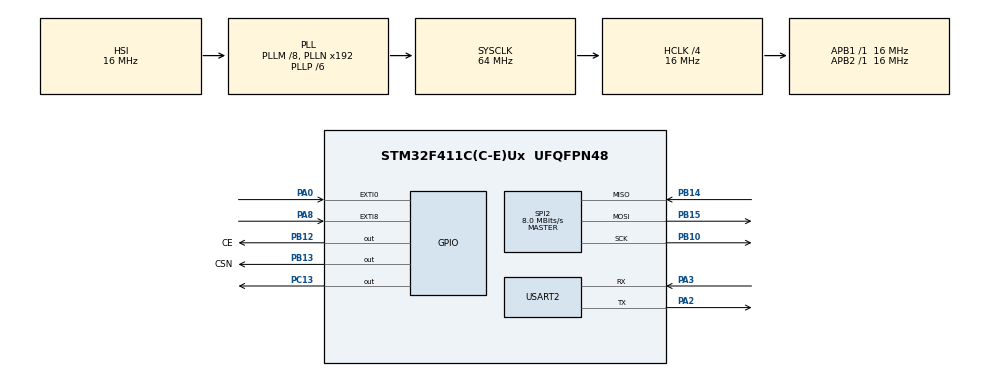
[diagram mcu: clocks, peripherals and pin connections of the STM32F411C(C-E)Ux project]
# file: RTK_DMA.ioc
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Dma.Request0=USART2_TX
Dma.Request1=USART2_RX
Dma.USART2_RX.1.Direction=DMA_PERIPH_TO_MEMORY
Dma.USART2_RX.1.FIFOMode=DMA_FIFOMODE_DISABLE
Dma.USART2_RX.1.Instance=DMA1_Stream5
Dma.USART2_RX.1.MemDataAlignment=DMA_MDATAALIGN_BYTE
Dma.USART2_RX.1.MemInc=DMA_MINC_ENABLE
Dma.USART2_RX.1.Mode=DMA_NORMAL
Dma.USART2_RX.1.PeriphDataAlignment=DMA_PDATAALIGN_BYTE
Dma.USART2_RX.1.PeriphInc=DMA_PINC_DISABLE
Dma.USART2_RX.1.Priority=DMA_PRIORITY_LOW
Dma.USART2_TX.0.Direction=DMA_MEMORY_TO_PERIPH
Dma.USART2_TX.0.FIFOMode=DMA_FIFOMODE_DISABLE
Dma.USART2_TX.0.Instance=DMA1_Stream6
Dma.USART2_TX.0.MemDataAlignment=DMA_MDATAALIGN_BYTE
Dma.USART2_TX.0.MemInc=DMA_MINC_ENABLE
Dma.USART2_TX.0.Mode=DMA_NORMAL
Dma.USART2_TX.0.PeriphDataAlignment=DMA_PDATAALIGN_BYTE
Dma.USART2_TX.0.PeriphInc=DMA_PINC_DISABLE
Dma.USART2_TX.0.Priority=DMA_PRIORITY_LOW
Mcu.Family=STM32F4
Mcu.Name=STM32F411C(C-E)Ux
Mcu.Package=UFQFPN48
NVIC.DMA1_Stream5_IRQn=true\:0\:0\:false\:false\:true\:false\:true\:true
NVIC.DMA1_Stream6_IRQn=true\:0\:0\:false\:false\:true\:false\:true\:true
NVIC.EXTI0_IRQn=true\:0\:0\:false\:false\:true\:true\:true\:true
NVIC.EXTI9_5_IRQn=true\:0\:0\:false\:false\:true\:true\:true\:true
NVIC.PriorityGroup=NVIC_PRIORITYGROUP_4
NVIC.SPI2_IRQn=true\:0\:0\:false\:false\:true\:true\:true\:true
NVIC.TIM3_IRQn=true\:0\:0\:false\:false\:true\:true\:true\:true
NVIC.USART2_IRQn=true\:0\:0\:false\:false\:true\:true\:true\:true
PA0-WKUP.GPIO_ModeDefaultEXTI=GPIO_MODE_IT_FALLING
PA0-WKUP.Signal=GPXTI0
PA2.Mode=Asynchronous
PA2.Signal=USART2_TX
PA3.Mode=Asynchronous
PA3.Signal=USART2_RX
PA8.Signal=GPXTI8
PB10.Mode=Full_Duplex_Master
PB10.Signal=SPI2_SCK
PB12.GPIO_Label=CE
PB12.GPIO_Speed=GPIO_SPEED_FREQ_HIGH
PB12.Signal=GPIO_Output
PB13.GPIO_Label=CSN
PB13.GPIO_Speed=GPIO_SPEED_FREQ_HIGH
PB13.Signal=GPIO_Output
PB14.Mode=Full_Duplex_Master
PB14.Signal=SPI2_MISO
PB15.Mode=Full_Duplex_Master
PB15.Signal=SPI2_MOSI
PC13-ANTI_TAMP.Signal=GPIO_Output
ProjectManager.HeapSize=0x200
ProjectManager.StackSize=0x400
ProjectManager.TargetToolchain=STM32CubeIDE
RCC.48MHZClocksFreq_Value=96000000
RCC.AHBCLKDivider=RCC_SYSCLK_DIV4
RCC.AHBFreq_Value=16000000
RCC.APB1Freq_Value=16000000
RCC.APB1TimFreq_Value=16000000
RCC.APB2Freq_Value=16000000
RCC.APB2TimFreq_Value=16000000
RCC.CortexFreq_Value=16000000
RCC.HCLKFreq_Value=16000000
RCC.HSE_VALUE=25000000
RCC.HSI_VALUE=16000000
RCC.LSE_VALUE=32768
RCC.PLLM=8
RCC.PLLP=RCC_PLLP_DIV6
RCC.SYSCLKFreq_VALUE=64000000
RCC.SYSCLKSource=RCC_SYSCLKSOURCE_PLLCLK
RCC.VCOOutputFreq_Value=384000000
SPI2.BaudRatePrescaler=SPI_BAUDRATEPRESCALER_2
SPI2.CalculateBaudRate=8.0 MBits/s
SPI2.Direction=SPI_DIRECTION_2LINES
SPI2.Mode=SPI_MODE_MASTER
SPI2.VirtualType=VM_MASTER
TIM3.Period=2599
TIM3.Prescaler=1599
USART2.VirtualMode=VM_ASYNC
VP_TIM3_VS_ClockSourceINT.Mode=Internal
board=custom

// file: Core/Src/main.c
/* USER CODE BEGIN Header */
/**
  ******************************************************************************
  * @file           : main.c
  * @brief          : Main program body
  ******************************************************************************
  * @attention
  *
  * Copyright (c) 2024 STMicroelectronics.
  * All rights reserved.
  *
  * This software is licensed under terms that can be found in the LICENSE file
  * in the root directory of this software component.
  * If no LICENSE file comes with this software, it is provided AS-IS.
  *
  ******************************************************************************
  */
/* USER CODE END Header */
#include "main.h"

/* USER CODE BEGIN Includes */
#include <stdio.h>
#include <string.h>
#include "NRF24.h"
#include "NRF24_reg_addresses.h"
/* USER CODE END Includes */

SPI_HandleTypeDef hspi2;

TIM_HandleTypeDef htim3;

UART_HandleTypeDef huart2;
DMA_HandleTypeDef hdma_usart2_tx;
DMA_HandleTypeDef hdma_usart2_rx;

void SystemClock_Config(void);
static void MX_GPIO_Init(void);
static void MX_DMA_Init(void);
static void MX_SPI2_Init(void);
static void MX_USART2_UART_Init(void);
static void MX_TIM3_Init(void);

/* USER CODE BEGIN 0 */

#define INTERVAL_MAX 10
#define MAX_SIZE 1024
#define NRF_SIZE 32
#define GGA_SIZE 100

#define TX

uint8_t countTimeout = 0;
uint8_t rover_mode = 0;
uint8_t nrf_rtcm_data[MAX_SIZE];
uint16_t nrf_packet_id = 0;

// RX
volatile uint16_t size = 0;
volatile uint16_t countCallBack = 0;
uint8_t nrf_rx_packet[NRF_SIZE];
uint8_t nrf_gga_data[GGA_SIZE];

void HAL_UARTEx_RxEventCallback(UART_HandleTypeDef *huart, uint16_t Size)
{
	size = Size;
	countCallBack++;

#ifdef TX
	if (size < MAX_SIZE - 2){
		nrf_rtcm_data[size] = '\r';
		nrf_rtcm_data[size+1] = '\n';
	}
#endif

#ifdef RX
	if (size < GGA_SIZE - 2){
		nrf_gga_data[size] = '\r';
		nrf_gga_data[size+1] = '\n';
	}
#endif
}

// TX
uint8_t send_flat = 0;
uint8_t TxData[] = { "$GNGGA,073934.900,1605.841499,N,10804.577336,E,4,38,0.45,35.9,M,-6.0,M,1.0,3335*76\r\n" };
uint8_t GGA_set_command[18] = { 0x24, 0x50, 0x41, 0x49, 0x52, 0x30, 0x36, 0x32, 0x2C, 0x30, 0x2C, 0x30, 0x31, 0x2A, 0x30, 0x46, 0x0D, 0x0A }; //$PAIR062,0,01*0F

void HAL_TIM_PeriodElapsedCallback(TIM_HandleTypeDef *htim)
{
	if(htim->Instance == TIM3)
	{
		if (countTimeout <= INTERVAL_MAX)
		{
			countTimeout++;
		}
		else
		{
			countTimeout = 0;

			if (send_flat == 0){
				send_flat = 1;
			}
		}

		// blink led to check rover mode
		switch (rover_mode)
		{
			case '0':
				HAL_GPIO_WritePin(GPIOC, GPIO_PIN_13, GPIO_PIN_SET);
			break;
			case '4':
				HAL_GPIO_WritePin(GPIOC, GPIO_PIN_13, GPIO_PIN_RESET);
				break;
			case '5':
				HAL_GPIO_TogglePin(GPIOC, GPIO_PIN_13);
				break;
			default:
				HAL_GPIO_TogglePin(GPIOC, GPIO_PIN_13);
				break;
		}
	}
}

int16_t Get_End_RTCM_Index(uint8_t* data, uint16_t size, uint16_t start)
{
	uint8_t d3_count = 0;

	int16_t rtcm_end_id = 0;

	if (start == 0)
		start = 1;

	for (int i = start; i < size - 1; i++){
		if (data[i] == 0xD3 && data[i + 1] == 0x00)
			d3_count++;

		if(d3_count >=5 && data[i-1] == 0x0D && data[i] == 0x0A)
		{
			rtcm_end_id = i + 1;
			break;
		}
	}

	return rtcm_end_id;
}

int16_t Get_End_GGA_Index(uint8_t* data, uint16_t size, uint16_t start)
{
	// check start gga

	int16_t gga_end_id = 0;

	if (start == 0)
		start = 1;

	for (int i = start; i < size; i++){
		if(data[i-1] == 0x0D && data[i] == 0x0A)
		{
			gga_end_id = i + 1;
			break;
		}
	}

	return gga_end_id;
}

uint8_t Send_Large_Data(uint8_t* data, uint16_t size)
{
	uint8_t ret = 0;
	uint8_t chunk[NRF_SIZE];

	for (uint16_t i = 0; i < size; i += NRF_SIZE) {

		uint16_t packet_size = 0;

		if (size - i < NRF_SIZE){
			packet_size = size - i;
		}
		else{
			packet_size = NRF_SIZE;
		}

		memcpy(chunk, data + i, packet_size * sizeof(uint8_t));

		// Send the 32-byte chunk

		//HAL_UART_Transmit(&huart2, chunk, NRF_SIZE, 5);
		ret = nrf24_transmit(chunk, sizeof(chunk));
		while(ret == 1){
			// TODO: timer break while
			HAL_Delay(5);

			ret = nrf24_transmit(chunk, sizeof(chunk));
		}

		memset(chunk, 0, sizeof(chunk));

		// Short delay if necessary to avoid overload
		HAL_Delay(1);
	}
	return ret;
}

/* USER CODE END 0 */

int main(void)
{

  /* MCU Configuration--------------------------------------------------------*/

  /* Reset of all peripherals, Initializes the Flash interface and the Systick. */
  HAL_Init();

  /* Configure the system clock */
  SystemClock_Config();

  /* Initialize all configured peripherals */
  MX_GPIO_Init();
  MX_DMA_Init();
  MX_SPI2_Init();
  MX_USART2_UART_Init();
  MX_TIM3_Init();
  /* USER CODE BEGIN 2 */
  csn_high();
  nrf24_init();
  nrf24_tx_pwr(_0dbm);
  nrf24_data_rate(_1mbps);
  nrf24_set_channel(78);
  nrf24_set_crc(en_crc, _1byte);
  nrf24_pipe_pld_size(0, NRF_SIZE);

  uint8_t addr_base[5] = { 0x10, 0x21, 0x32, 0x43, 0x54 };
  uint8_t addr_rover[5] = { 0x10, 0x21, 0x32, 0x43, 0x53 };

  HAL_Delay(500); // waiting initial Station

#ifdef TX

  nrf24_open_tx_pipe(addr_base);
  nrf24_open_rx_pipe(0, addr_rover);

  HAL_UARTEx_ReceiveToIdle_DMA(&huart2, nrf_rtcm_data, MAX_SIZE);

#endif

#ifdef RX

  nrf24_open_tx_pipe(addr_rover);
  nrf24_open_rx_pipe(1, addr_base);

  HAL_UARTEx_ReceiveToIdle_DMA(&huart2, nrf_gga_data, GGA_SIZE);

#endif

  HAL_TIM_Base_Start_IT(&htim3);

  /* USER CODE END 2 */

  /* Infinite loop */
  /* USER CODE BEGIN WHILE */
  while (1)
  {

#ifdef TX

	  if (size != 0)
	  {
		  int16_t rtcm_end_id = Get_End_RTCM_Index(nrf_rtcm_data, MAX_SIZE, 0);

		  if (rtcm_end_id > 0){
			  // separate data and send chunk
			  uint8_t check[rtcm_end_id]; // to extend to send

			  memcpy(check, nrf_rtcm_data, sizeof(check));

			  nrf24_stop_listen();

			  Send_Large_Data(check, rtcm_end_id);

			  size = 0;

			  memset(nrf_rtcm_data, 0, rtcm_end_id);

			  HAL_UARTEx_ReceiveToIdle_DMA(&huart2, nrf_rtcm_data, MAX_SIZE);

			  HAL_Delay(1);
		  }
	  }

	  nrf24_listen();

	  if (nrf24_data_available()){

		  nrf24_receive(nrf_rx_packet, sizeof(nrf_rx_packet));

		  memcpy(&nrf_gga_data[nrf_packet_id], nrf_rx_packet, sizeof(nrf_rx_packet));

		  nrf_packet_id += NRF_SIZE;

		  memset(nrf_rx_packet, 0, sizeof(nrf_rx_packet));

		  int16_t gga_end_id = Get_End_GGA_Index(nrf_gga_data, GGA_SIZE, 0);

		  if (gga_end_id > 0 && nrf_gga_data[0] == '$'){

			  HAL_UART_Transmit_DMA(&huart2, nrf_gga_data, gga_end_id);

			  memset(nrf_gga_data, 0, sizeof(nrf_gga_data));

			  nrf_packet_id = 0;
		  }

		  if (nrf_packet_id > GGA_SIZE)
		  {
			  nrf_packet_id = 0;
			  memset(nrf_gga_data, 0, sizeof(nrf_gga_data));
		  }

		  HAL_Delay(1);
	  }

#endif

#ifdef RX
	  // NRF Receiver Processing

	  if (size != 0)
	  {
		  int16_t end_gga_index = Get_End_GGA_Index(nrf_gga_data, sizeof(nrf_gga_data), 0);

		  if (end_gga_index > 0){

			  nrf24_stop_listen();

			  Send_Large_Data(nrf_gga_data, end_gga_index);

			  int comma_count = 0;
			  for(int j = 0; j < GGA_SIZE; j++){
				  if (nrf_gga_data[j] == 0x2C){ // 2C is ','
					  comma_count++;
					  if (comma_count == 6) // from $GNGGA to Rover Mode
					  {
						  rover_mode = nrf_gga_data[j + 1];
						  break;
					  }
				  }
			  }

			  size = 0;

			  HAL_UARTEx_ReceiveToIdle_DMA(&huart2, nrf_gga_data, GGA_SIZE);

			  memset(nrf_gga_data, 0, sizeof(nrf_gga_data));
		  }
	  }

	  nrf24_listen();

	  if (nrf24_data_available()){

		  nrf24_receive(nrf_rx_packet, sizeof(nrf_rx_packet));

		  memcpy(&nrf_rtcm_data[nrf_packet_id], nrf_rx_packet, sizeof(nrf_rx_packet));

		  nrf_packet_id += NRF_SIZE;
		  memset(nrf_rx_packet, 0, sizeof(nrf_rx_packet));

		  int16_t end_rtcm_id = Get_End_RTCM_Index(nrf_rtcm_data, MAX_SIZE, 0);
		  if (end_rtcm_id > 0){

			  HAL_UART_Transmit_DMA(&huart2, nrf_rtcm_data, end_rtcm_id);

			  memset(nrf_rtcm_data, 0, sizeof(nrf_rtcm_data));

			  nrf_packet_id = 0;
		  }

		  HAL_Delay(1);
	  }
#endif

    /* USER CODE END WHILE */

  }
}

void SystemClock_Config(void)
{
  RCC_OscInitTypeDef RCC_OscInitStruct = {0};
  RCC_ClkInitTypeDef RCC_ClkInitStruct = {0};

  /** Configure the main internal regulator output voltage
  */
  __HAL_RCC_PWR_CLK_ENABLE();
  __HAL_PWR_VOLTAGESCALING_CONFIG(PWR_REGULATOR_VOLTAGE_SCALE1);

  /** Initializes the RCC Oscillators according to the specified parameters
  * in the RCC_OscInitTypeDef structure.
  */
  RCC_OscInitStruct.OscillatorType = RCC_OSCILLATORTYPE_HSI;
  RCC_OscInitStruct.HSIState = RCC_HSI_ON;
  RCC_OscInitStruct.HSICalibrationValue = RCC_HSICALIBRATION_DEFAULT;
  RCC_OscInitStruct.PLL.PLLState = RCC_PLL_ON;
  RCC_OscInitStruct.PLL.PLLSource = RCC_PLLSOURCE_HSI;
  RCC_OscInitStruct.PLL.PLLM = 8;
  RCC_OscInitStruct.PLL.PLLN = 192;
  RCC_OscInitStruct.PLL.PLLP = RCC_PLLP_DIV6;
  RCC_OscInitStruct.PLL.PLLQ = 4;
  if (HAL_RCC_OscConfig(&RCC_OscInitStruct) != HAL_OK)
  {
    Error_Handler();
  }

  /** Initializes the CPU, AHB and APB buses clocks
  */
  RCC_ClkInitStruct.ClockType = RCC_CLOCKTYPE_HCLK|RCC_CLOCKTYPE_SYSCLK
                              |RCC_CLOCKTYPE_PCLK1|RCC_CLOCKTYPE_PCLK2;
  RCC_ClkInitStruct.SYSCLKSource = RCC_SYSCLKSOURCE_PLLCLK;
  RCC_ClkInitStruct.AHBCLKDivider = RCC_SYSCLK_DIV4;
  RCC_ClkInitStruct.APB1CLKDivider = RCC_HCLK_DIV1;
  RCC_ClkInitStruct.APB2CLKDivider = RCC_HCLK_DIV1;

  if (HAL_RCC_ClockConfig(&RCC_ClkInitStruct, FLASH_LATENCY_0) != HAL_OK)
  {
    Error_Handler();
  }
}

static void MX_SPI2_Init(void)
{

  /* SPI2 parameter configuration*/
  hspi2.Instance = SPI2;
  hspi2.Init.Mode = SPI_MODE_MASTER;
  hspi2.Init.Direction = SPI_DIRECTION_2LINES;
  hspi2.Init.DataSize = SPI_DATASIZE_8BIT;
  hspi2.Init.CLKPolarity = SPI_POLARITY_LOW;
  hspi2.Init.CLKPhase = SPI_PHASE_1EDGE;
  hspi2.Init.NSS = SPI_NSS_SOFT;
  hspi2.Init.BaudRatePrescaler = SPI_BAUDRATEPRESCALER_2;
  hspi2.Init.FirstBit = SPI_FIRSTBIT_MSB;
  hspi2.Init.TIMode = SPI_TIMODE_DISABLE;
  hspi2.Init.CRCCalculation = SPI_CRCCALCULATION_DISABLE;
  hspi2.Init.CRCPolynomial = 10;
  if (HAL_SPI_Init(&hspi2) != HAL_OK)
  {
    Error_Handler();
  }

}

static void MX_TIM3_Init(void)
{

  TIM_ClockConfigTypeDef sClockSourceConfig = {0};
  TIM_MasterConfigTypeDef sMasterConfig = {0};

  htim3.Instance = TIM3;
  htim3.Init.Prescaler = 1599;
  htim3.Init.CounterMode = TIM_COUNTERMODE_UP;
  htim3.Init.Period = 2599;
  htim3.Init.ClockDivision = TIM_CLOCKDIVISION_DIV1;
  htim3.Init.AutoReloadPreload = TIM_AUTORELOAD_PRELOAD_DISABLE;
  if (HAL_TIM_Base_Init(&htim3) != HAL_OK)
  {
    Error_Handler();
  }
  sClockSourceConfig.ClockSource = TIM_CLOCKSOURCE_INTERNAL;
  if (HAL_TIM_ConfigClockSource(&htim3, &sClockSourceConfig) != HAL_OK)
  {
    Error_Handler();
  }
  sMasterConfig.MasterOutputTrigger = TIM_TRGO_RESET;
  sMasterConfig.MasterSlaveMode = TIM_MASTERSLAVEMODE_DISABLE;
  if (HAL_TIMEx_MasterConfigSynchronization(&htim3, &sMasterConfig) != HAL_OK)
  {
    Error_Handler();
  }

}

static void MX_USART2_UART_Init(void)
{

  huart2.Instance = USART2;
  huart2.Init.BaudRate = 115200;
  huart2.Init.WordLength = UART_WORDLENGTH_8B;
  huart2.Init.StopBits = UART_STOPBITS_1;
  huart2.Init.Parity = UART_PARITY_NONE;
  huart2.Init.Mode = UART_MODE_TX_RX;
  huart2.Init.HwFlowCtl = UART_HWCONTROL_NONE;
  huart2.Init.OverSampling = UART_OVERSAMPLING_16;
  if (HAL_UART_Init(&huart2) != HAL_OK)
  {
    Error_Handler();
  }

}

static void MX_DMA_Init(void)
{

  /* DMA controller clock enable */
  __HAL_RCC_DMA1_CLK_ENABLE();

  /* DMA interrupt init */
  /* DMA1_Stream5_IRQn interrupt configuration */
  HAL_NVIC_SetPriority(DMA1_Stream5_IRQn, 0, 0);
  HAL_NVIC_EnableIRQ(DMA1_Stream5_IRQn);
  /* DMA1_Stream6_IRQn interrupt configuration */
  HAL_NVIC_SetPriority(DMA1_Stream6_IRQn, 0, 0);
  HAL_NVIC_EnableIRQ(DMA1_Stream6_IRQn);

}

static void MX_GPIO_Init(void)
{
  GPIO_InitTypeDef GPIO_InitStruct = {0};

  /* GPIO Ports Clock Enable */
  __HAL_RCC_GPIOC_CLK_ENABLE();
  __HAL_RCC_GPIOA_CLK_ENABLE();
  __HAL_RCC_GPIOB_CLK_ENABLE();

  /*Configure GPIO pin Output Level */
  HAL_GPIO_WritePin(GPIOC, GPIO_PIN_13, GPIO_PIN_RESET);

  /*Configure GPIO pin Output Level */
  HAL_GPIO_WritePin(GPIOB, CE_Pin|CSN_Pin, GPIO_PIN_RESET);

  /*Configure GPIO pin : PC13 */
  GPIO_InitStruct.Pin = GPIO_PIN_13;
  GPIO_InitStruct.Mode = GPIO_MODE_OUTPUT_PP;
  GPIO_InitStruct.Pull = GPIO_NOPULL;
  GPIO_InitStruct.Speed = GPIO_SPEED_FREQ_LOW;
  HAL_GPIO_Init(GPIOC, &GPIO_InitStruct);

  /*Configure GPIO pin : PA0 */
  GPIO_InitStruct.Pin = GPIO_PIN_0;
  GPIO_InitStruct.Mode = GPIO_MODE_IT_FALLING;
  GPIO_InitStruct.Pull = GPIO_NOPULL;
  HAL_GPIO_Init(GPIOA, &GPIO_InitStruct);

  /*Configure GPIO pins : CE_Pin CSN_Pin */
  GPIO_InitStruct.Pin = CE_Pin|CSN_Pin;
  GPIO_InitStruct.Mode = GPIO_MODE_OUTPUT_PP;
  GPIO_InitStruct.Pull = GPIO_NOPULL;
  GPIO_InitStruct.Speed = GPIO_SPEED_FREQ_HIGH;
  HAL_GPIO_Init(GPIOB, &GPIO_InitStruct);

  /*Configure GPIO pin : PA8 */
  GPIO_InitStruct.Pin = GPIO_PIN_8;
  GPIO_InitStruct.Mode = GPIO_MODE_IT_RISING;
  GPIO_InitStruct.Pull = GPIO_NOPULL;
  HAL_GPIO_Init(GPIOA, &GPIO_InitStruct);

  /* EXTI interrupt init*/
  HAL_NVIC_SetPriority(EXTI0_IRQn, 0, 0);
  HAL_NVIC_EnableIRQ(EXTI0_IRQn);

  HAL_NVIC_SetPriority(EXTI9_5_IRQn, 0, 0);
  HAL_NVIC_EnableIRQ(EXTI9_5_IRQn);

}

void Error_Handler(void)
{
  __disable_irq();
  while (1)
  {
  }
}
